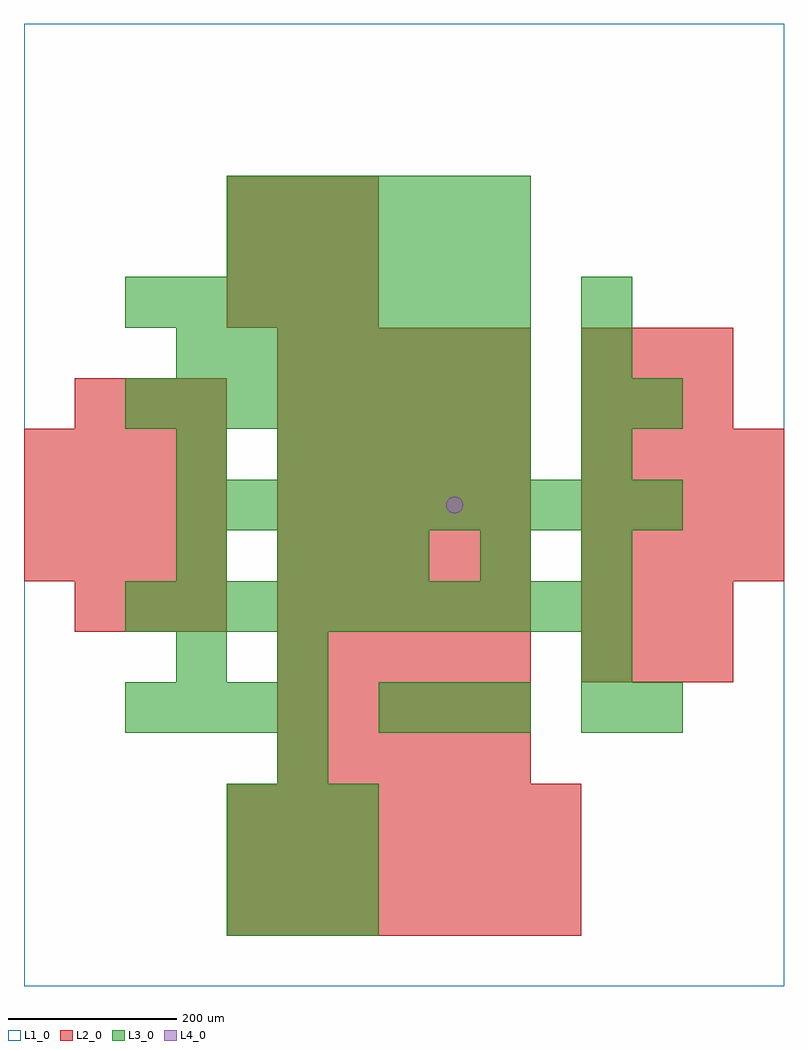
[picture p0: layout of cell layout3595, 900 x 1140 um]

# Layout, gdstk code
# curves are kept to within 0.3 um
import gdstk
lib = gdstk.Library(unit=1e-6, precision=1e-09)
def R(c, l, rs):  # rectangles x0, y0, x1, y1
    for r in rs: c.add(gdstk.rectangle(r[:2], r[2:], *l))
def A(c, l, x, y, w, h, nx, ny, dx, dy):  # array of equal rectangles
    R(c, l, [(x+i*dx, y+j*dy, x+i*dx+w, y+j*dy+h) for i in range(nx) for j in range(ny)])
def P(c, l, *ps):  # polygons
    for p in ps: c.add(gdstk.Polygon(p, *l))
L1_0 = (1, 0)
L2_0 = (2, 0)
L3_0 = (3, 0)
L4_0 = (4, 0)

layout3595 = lib.new_cell('layout3595')
R(layout3595, L1_0, [(0,0,900,1140)])
A(layout3595, L2_0, 240, 60, 60, 60, 7, 3, 60, 60)
A(layout3595, L2_0, 300, 240, 60, 60, 5, 9, 60, 60)
A(layout3595, L2_0, 660, 360, 60, 60, 3, 2, 60, 60)
A(layout3595, L2_0, 60, 420, 60, 60, 3, 2, 60, 240)
A(layout3595, L2_0, 0, 480, 60, 60, 4, 3, 60, 60)
A(layout3595, L2_0, 660, 480, 60, 60, 4, 3, 60, 60)
A(layout3595, L2_0, 660, 660, 60, 60, 3, 2, 60, 60)
A(layout3595, L2_0, 240, 780, 60, 60, 3, 3, 60, 60)
A(layout3595, L3_0, 240, 60, 60, 60, 3, 3, 60, 60)
A(layout3595, L3_0, 120, 300, 60, 60, 4, 1, 60, 0)
A(layout3595, L3_0, 420, 300, 60, 60, 3, 1, 60, 0)
A(layout3595, L3_0, 180, 360, 60, 60, 1, 3, 0, 120)
A(layout3595, L3_0, 660, 360, 60, 60, 1, 3, 0, 120)
A(layout3595, L3_0, 120, 420, 60, 60, 10, 1, 60, 0)
A(layout3595, L3_0, 300, 480, 60, 60, 3, 1, 60, 0)
A(layout3595, L3_0, 180, 540, 60, 60, 10, 1, 60, 0)
A(layout3595, L3_0, 300, 600, 60, 60, 5, 1, 60, 0)
A(layout3595, L3_0, 120, 660, 60, 60, 8, 2, 60, 120)
A(layout3595, L3_0, 660, 660, 60, 60, 1, 3, 0, 60)
A(layout3595, L3_0, 180, 720, 60, 60, 7, 1, 60, 0)
A(layout3595, L3_0, 240, 840, 60, 60, 6, 2, 60, 60)
R(layout3595, L3_0, [(300,240,360,300), (660,300,720,360), (720,300,780,360), (300,360,360,420), (540,480,600,540), (720,660,780,720)])
P(layout3595, L4_0, [(520,570),(519.239,573.827),(517.071,577.071),(513.827,579.239),(510,580),(506.173,579.239),(502.929,577.071),(500.761,573.827),(500,570),(500.761,566.173),(502.929,562.929),(506.173,560.761),(510,560),(513.827,560.761),(517.071,562.929),(519.239,566.173)])

lib.write_gds('layout3595.gds')
